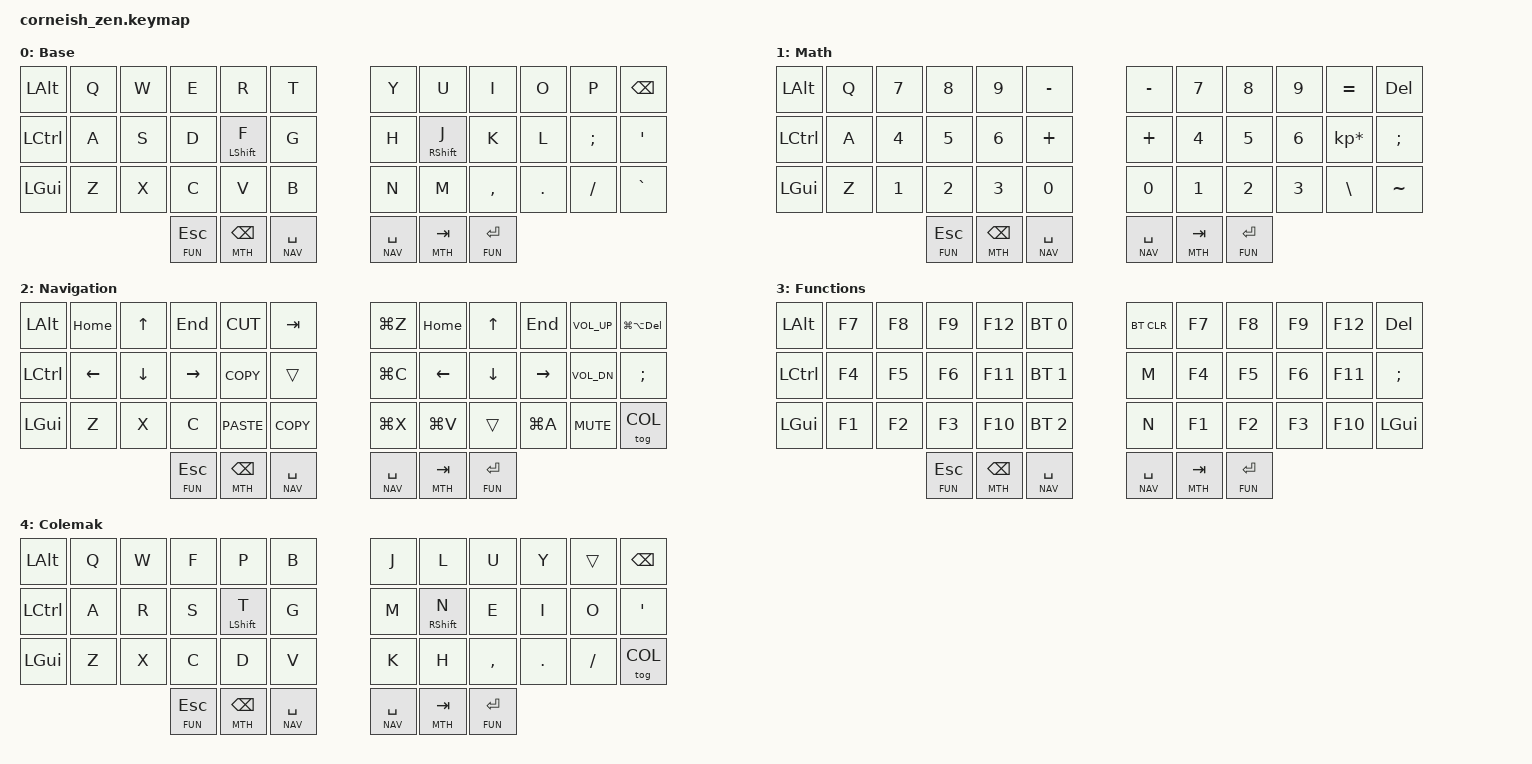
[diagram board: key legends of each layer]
#include <behaviors.dtsi>
#include <dt-bindings/zmk/keys.h>
#include <dt-bindings/zmk/bt.h>

// Layers 
#define MTH 1
#define NAV 2
#define FUN 3
#define COL 4


/ {
  chosen {
    zmk,matrix_transform = &default_transform;
  };
};


// Keymaps:
/ {
    behaviors {
      hm: homerow_mods {
        compatible = "zmk,behavior-hold-tap";
        label = "HOMEROW_MODS";
        #binding-cells = <2>;
        tapping-term-ms = <160>;
        quick_tap_ms = <0>;
        flavor = "tap-preferred";
        bindings = <&kp>, <&kp>;
      };
    };        

        keymap {
                compatible = "zmk,keymap";

                default_layer {
                        label = "Base";                 
                        bindings = <
   &kp LALT     &kp Q        &kp W        &kp E        &kp R        &kp T          &kp Y        &kp U        &kp I        &kp O        &kp P         &kp BKSP
   &kp LCTRL    &kp A        &kp S        &kp D        &hm LSHFT F  &kp G          &kp H        &hm RSHFT J  &kp K        &kp L        &kp SEMI      &kp APOS 
   &kp LGUI     &kp Z        &kp X        &kp C        &kp V        &kp B          &kp N        &kp M        &kp COMMA    &kp DOT      &kp FSLH      &kp GRAVE   
                                      &lt FUN ESC  &lt MTH BKSP &lt NAV SPACE    &lt NAV SPACE   &lt MTH TAB   &lt FUN RET
                        >;
                };

                num_layer {
                        label = "Math";                 
                        bindings = <
   &kp LALT     &kp Q        &kp N7       &kp N8       &kp N9      &kp MINUS       &kp MINUS     &kp N7       &kp N8       &kp N9       &kp EQUAL     &kp DEL
   &kp LCTRL    &kp A        &kp N4       &kp N5       &kp N6      &kp PLUS        &kp PLUS      &kp N4       &kp N5       &kp N6       &kp KP_MULTIPLY &kp SEMI 
   &kp LGUI     &kp Z        &kp N1       &kp N2       &kp N3      &kp N0          &kp N0        &kp N1       &kp N2       &kp N3       &kp BSLH      &kp TILDE
                                      &lt FUN ESC  &lt MTH BKSP &lt NAV SPACE    &lt NAV SPACE   &lt MTH TAB   &lt FUN RET                        
                        >;
                };       

                nav_layer {
                        label = "Navigation";                 
                        bindings = <
   &kp LALT     &kp HOME     &kp UP       &kp END      &kp K_CUT    &kp TAB        &kp LG(Z)     &kp HOME     &kp UP       &kp END      &kp C_VOL_UP  &kp LG(LA(DEL))   
   &kp LCTRL    &kp LEFT     &kp DOWN     &kp RIGHT    &kp K_COPY   &trans         &kp LG(C)     &kp LEFT     &kp DOWN     &kp RIGHT    &kp C_VOL_DN  &kp SEMI 
   &kp LGUI     &kp Z        &kp X        &kp C        &kp K_PASTE  &kp K_COPY     &kp LG(X)     &kp LG(V)    &trans       &kp LG(A)    &kp C_MUTE    &tog COL
                                      &lt FUN ESC  &lt MTH BKSP &lt NAV SPACE    &lt NAV SPACE   &lt MTH TAB   &lt FUN RET 
                        >;
                };

                fun_layer {
                        label = "Functions";                 
                        bindings = <
   &kp LALT     &kp F7       &kp F8       &kp F9       &kp F12      &bt BT_SEL 0   &bt BT_CLR    &kp F7       &kp F8       &kp F9       &kp F12       &kp DEL
   &kp LCTRL    &kp F4       &kp F5       &kp F6       &kp F11      &bt BT_SEL 1   &kp M         &kp F4       &kp F5       &kp F6       &kp F11       &kp SEMI 
   &kp LGUI     &kp F1       &kp F2       &kp F3       &kp F10      &bt BT_SEL 2   &kp N         &kp F1       &kp F2       &kp F3       &kp F10       &kp LGUI
                                      &lt FUN ESC  &lt MTH BKSP &lt NAV SPACE    &lt NAV SPACE   &lt MTH TAB   &lt FUN RET
                        >;
                };   

                colemak_layer {
                        label = "Colemak";                 
                        bindings = <
   &kp LALT     &kp Q        &kp W        &kp F        &kp P        &kp B          &kp J        &kp L        &kp U        &kp Y        &trans        &kp BKSP
   &kp LCTRL    &kp A        &kp R        &kp S        &hm LSHFT T  &kp G          &kp M        &hm RSHFT N  &kp E        &kp I        &kp O         &kp APOS 
   &kp LGUI     &kp Z        &kp X        &kp C        &kp D        &kp V          &kp K        &kp H        &kp COMMA    &kp DOT      &kp FSLH      &tog COL  
                                      &lt FUN ESC  &lt MTH BKSP &lt NAV SPACE    &lt NAV SPACE   &lt MTH TAB   &lt FUN RET
                        >;
                }; 
                        
        };
};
